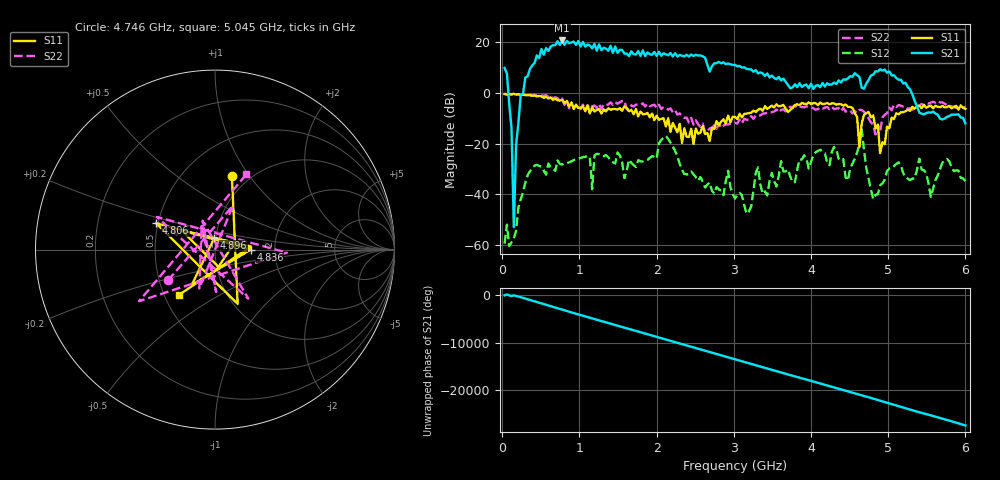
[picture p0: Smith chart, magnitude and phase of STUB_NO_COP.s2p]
!Keysight Technologies N9916A: A.08.01
!Date: Wednesday, 21 June 2023 18:51:39
!Timezone: (GMT+01:00) Amsterdam, Berlin, Bern, Rome, Stockholm, Vienna
!Model: N9916A
!Serial: MY53104702
!GPS Latitude:
!GPS Longitude:
!GPS TimeStamp: 0001-01-01 00:00:00Z
!GPS Seconds Since Last Read: 0
!CHECKSUM:2033207291
!Correction: S11(Rdy)S21(Rdy)S12(OFF)S22(Rdy)
!S2P File: Measurements:S11,S21,S12,S22:
# Hz S DB R 50
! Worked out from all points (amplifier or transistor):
!   201 points, 30 MHz to 6 GHz, reference 50 ohm
!   highest |S21| = 20.7 dB at 776.2 MHz (marker M1)
!   |S21| within 3 dB of that: 617 MHz to 1.161 GHz (544.1 MHz wide, 61.2 % of centre) (the widest 1 of 7)
!   unconditionally stable (mu >= 1): 33.54 MHz to 260.4 MHz; 1.551 GHz to 1.758 GHz; 2.208 GHz to end of sweep (the widest 3 of 17)
!   at 1.015 GHz: K = 0.64, MSG = 22.0 dB, |S12| = -25.6 dB
!   at 3.015 GHz: K = 14.01, MAG = 11.9 dB, |S12| = -41.7 dB
!   at 6 GHz: K = 61.24, MAG = -9.5 dB, |S12| = -34.8 dB
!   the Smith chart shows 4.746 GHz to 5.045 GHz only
!   S11 on the Smith chart (normalised r, x): 4.746 GHz: 0.83, +0.83; 4.806 GHz: 0.49, +0.17; 4.836 GHz: 1.50, -0.00; 4.896 GHz: 0.98, +0.13; 5.045 GHz: 0.59, -0.34
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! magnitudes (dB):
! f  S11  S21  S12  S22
! 30 MHz  -0.4  9.8  -59.3  -0.3
! 119.5 MHz  -0.5  -13.9  -58.8  -0.6
! 149.4 MHz  -0.4  -52.9  -57.5  -0.5
! 179.2 MHz  -0.7  -20.4  -54.1  -0.7
! 238.9 MHz  -0.8  -0.9  -42.1  -0.8
! 776.2 MHz  -2.8  20.7  -28.2  -2.2
! 1.045 GHz  -5.2  20.1  -25.3  -4.6
! 1.164 GHz  -5.7  17.6  -38.0  -5.3
! 1.224 GHz  -6.8  16.7  -24.0  -5.9
! 1.582 GHz  -5.3  15.5  -33.6  -3.1
! 2.03 GHz  -10.6  16.2  -19.9  -4.7
! 3.015 GHz  -9.4  11.1  -41.7  -11.8
! 4.03 GHz  -4.0  1.6  -24.5  -6.0
! 4.478 GHz  -5.5  5.7  -34.5  -6.9
! 4.657 GHz  -12.1  2.1  -14.4  -6.8
! 4.746 GHz  -7.5  5.1  -33.9  -10.1
! 4.806 GHz  -8.9  7.2  -41.9  -12.6
! 4.836 GHz  -14.0  8.5  -40.2  -16.4
! 4.896 GHz  -23.8  9.3  -36.4  -15.1
! 5.015 GHz  -13.9  8.4  -29.8  -5.8
! 5.045 GHz  -9.8  6.9  -29.7  -6.8
! 6 GHz  -6.3  -12.0  -34.8  -5.7
